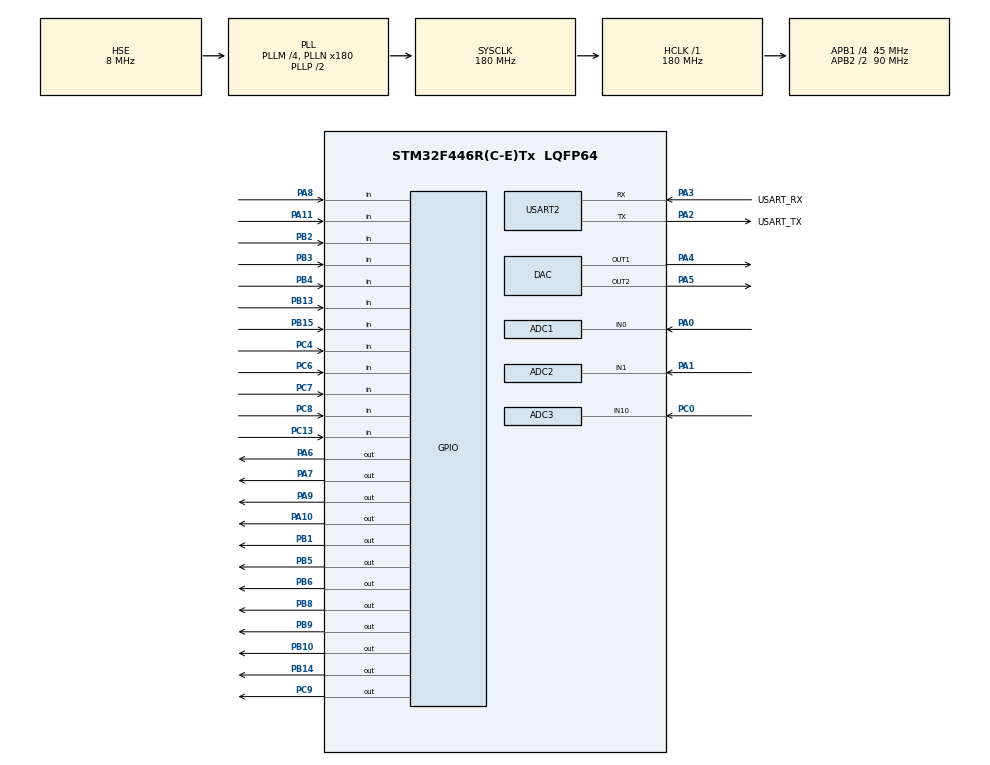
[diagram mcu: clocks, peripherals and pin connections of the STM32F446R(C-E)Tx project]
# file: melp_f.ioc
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ADC1.Channel-0\#ChannelRegularConversion=ADC_CHANNEL_0
ADC1.ClockPrescaler=ADC_CLOCK_SYNC_PCLK_DIV4
ADC1.ContinuousConvMode=DISABLE
ADC1.DMAContinuousRequests=ENABLE
ADC1.DataAlign=ADC_DATAALIGN_LEFT
ADC1.DiscontinuousConvMode=DISABLE
ADC1.EOCSelection=ADC_EOC_SINGLE_CONV
ADC1.EnableAnalogWatchDog=false
ADC1.ExternalTrigConv=ADC_EXTERNALTRIGCONV_T2_TRGO
ADC1.ExternalTrigConvEdge=ADC_EXTERNALTRIGCONVEDGE_RISING
ADC1.InjNumberOfConversion=0
ADC1.NbrOfConversion=1
ADC1.NbrOfConversionFlag=1
ADC1.Rank-0\#ChannelRegularConversion=1
ADC1.Resolution=ADC_RESOLUTION_12B
ADC1.SamplingTime-0\#ChannelRegularConversion=ADC_SAMPLETIME_480CYCLES
ADC1.ScanConvMode=DISABLE
ADC1.master=1
ADC2.Channel-0\#ChannelRegularConversion=ADC_CHANNEL_1
ADC2.ClockPrescaler=ADC_CLOCK_SYNC_PCLK_DIV4
ADC2.ContinuousConvMode=DISABLE
ADC2.DMAContinuousRequests=ENABLE
ADC2.DataAlign=ADC_DATAALIGN_LEFT
ADC2.DiscontinuousConvMode=DISABLE
ADC2.EOCSelection=ADC_EOC_SINGLE_CONV
ADC2.EnableAnalogWatchDog=false
ADC2.ExternalTrigConv=ADC_EXTERNALTRIGCONV_T3_TRGO
ADC2.ExternalTrigConvEdge=ADC_EXTERNALTRIGCONVEDGE_RISING
ADC2.InjNumberOfConversion=0
ADC2.NbrOfConversion=1
ADC2.NbrOfConversionFlag=1
ADC2.Rank-0\#ChannelRegularConversion=1
ADC2.Resolution=ADC_RESOLUTION_12B
ADC2.SamplingTime-0\#ChannelRegularConversion=ADC_SAMPLETIME_480CYCLES
ADC2.ScanConvMode=DISABLE
ADC3.Channel-0\#ChannelRegularConversion=ADC_CHANNEL_10
ADC3.ClockPrescaler=ADC_CLOCK_SYNC_PCLK_DIV4
ADC3.ContinuousConvMode=ENABLE
ADC3.DMAContinuousRequests=DISABLE
ADC3.DataAlign=ADC_DATAALIGN_RIGHT
ADC3.DiscontinuousConvMode=DISABLE
ADC3.EOCSelection=ADC_EOC_SINGLE_CONV
ADC3.EnableAnalogWatchDog=false
ADC3.ExternalTrigConvEdge=ADC_EXTERNALTRIGCONVEDGE_NONE
ADC3.InjNumberOfConversion=0
ADC3.NbrOfConversion=1
ADC3.NbrOfConversionFlag=1
ADC3.Rank-0\#ChannelRegularConversion=1
ADC3.Resolution=ADC_RESOLUTION_12B
ADC3.SamplingTime-0\#ChannelRegularConversion=ADC_SAMPLETIME_3CYCLES
ADC3.ScanConvMode=DISABLE
DAC.DAC_Trigger=DAC_TRIGGER_T4_TRGO
DAC.DAC_Trigger2=DAC_TRIGGER_T5_TRGO
Dma.ADC1.0.Direction=DMA_PERIPH_TO_MEMORY
Dma.ADC1.0.FIFOMode=DMA_FIFOMODE_DISABLE
Dma.ADC1.0.Instance=DMA2_Stream0
Dma.ADC1.0.MemDataAlignment=DMA_MDATAALIGN_HALFWORD
Dma.ADC1.0.MemInc=DMA_MINC_ENABLE
Dma.ADC1.0.Mode=DMA_CIRCULAR
Dma.ADC1.0.PeriphDataAlignment=DMA_PDATAALIGN_HALFWORD
Dma.ADC1.0.PeriphInc=DMA_PINC_DISABLE
Dma.ADC1.0.Priority=DMA_PRIORITY_HIGH
Dma.ADC2.3.Direction=DMA_PERIPH_TO_MEMORY
Dma.ADC2.3.FIFOMode=DMA_FIFOMODE_DISABLE
Dma.ADC2.3.Instance=DMA2_Stream3
Dma.ADC2.3.MemDataAlignment=DMA_MDATAALIGN_HALFWORD
Dma.ADC2.3.MemInc=DMA_MINC_ENABLE
Dma.ADC2.3.Mode=DMA_CIRCULAR
Dma.ADC2.3.PeriphDataAlignment=DMA_PDATAALIGN_HALFWORD
Dma.ADC2.3.PeriphInc=DMA_PINC_DISABLE
Dma.ADC2.3.Priority=DMA_PRIORITY_LOW
Dma.DAC1.1.Direction=DMA_MEMORY_TO_PERIPH
Dma.DAC1.1.FIFOMode=DMA_FIFOMODE_DISABLE
Dma.DAC1.1.Instance=DMA1_Stream5
Dma.DAC1.1.MemDataAlignment=DMA_MDATAALIGN_HALFWORD
Dma.DAC1.1.MemInc=DMA_MINC_ENABLE
Dma.DAC1.1.Mode=DMA_CIRCULAR
Dma.DAC1.1.PeriphDataAlignment=DMA_PDATAALIGN_HALFWORD
Dma.DAC1.1.PeriphInc=DMA_PINC_DISABLE
Dma.DAC1.1.Priority=DMA_PRIORITY_LOW
Dma.DAC2.2.Direction=DMA_MEMORY_TO_PERIPH
Dma.DAC2.2.FIFOMode=DMA_FIFOMODE_DISABLE
Dma.DAC2.2.Instance=DMA1_Stream6
Dma.DAC2.2.MemDataAlignment=DMA_MDATAALIGN_HALFWORD
Dma.DAC2.2.MemInc=DMA_MINC_ENABLE
Dma.DAC2.2.Mode=DMA_CIRCULAR
Dma.DAC2.2.PeriphDataAlignment=DMA_PDATAALIGN_HALFWORD
Dma.DAC2.2.PeriphInc=DMA_PINC_DISABLE
Dma.DAC2.2.Priority=DMA_PRIORITY_LOW
Dma.Request0=ADC1
Dma.Request1=DAC1
Dma.Request2=DAC2
Dma.Request3=ADC2
Mcu.Family=STM32F4
Mcu.Name=STM32F446R(C-E)Tx
Mcu.Package=LQFP64
NVIC.DMA1_Stream5_IRQn=true\:0\:0\:false\:false\:true
NVIC.DMA1_Stream6_IRQn=true\:0\:0\:false\:false\:true
NVIC.DMA2_Stream0_IRQn=true\:0\:0\:false\:false\:true
NVIC.DMA2_Stream3_IRQn=true\:0\:0\:false\:false\:true
NVIC.PriorityGroup=NVIC_PRIORITYGROUP_0
NVIC.TIM3_IRQn=true\:0\:0\:false\:false\:true
PA0-WKUP.Signal=ADCx_IN0
PA1.Signal=ADCx_IN1
PA10.PinState=GPIO_PIN_SET
PA10.Signal=GPIO_Output
PA11.GPIO_PuPd=GPIO_PULLUP
PA11.Signal=GPIO_Input
PA13.GPIO_Label=TMS
PA13.Mode=Serial_Wire
PA13.Signal=SYS_JTMS-SWDIO
PA14.GPIO_Label=TCK
PA14.Mode=Serial_Wire
PA14.Signal=SYS_JTCK-SWCLK
PA2.GPIO_Label=USART_TX
PA2.Mode=Asynchronous
PA2.Signal=USART2_TX
PA3.GPIO_Label=USART_RX
PA3.Mode=Asynchronous
PA3.Signal=USART2_RX
PA4.Signal=COMP_DAC1_group
PA5.Signal=COMP_DAC2_group
PA6.Signal=GPIO_Output
PA7.PinState=GPIO_PIN_SET
PA7.Signal=GPIO_Output
PA8.GPIO_PuPd=GPIO_PULLUP
PA8.Signal=GPIO_Input
PA9.PinState=GPIO_PIN_SET
PA9.Signal=GPIO_Output
PB1.Signal=GPIO_Output
PB10.PinState=GPIO_PIN_SET
PB10.Signal=GPIO_Output
PB13.GPIO_PuPd=GPIO_PULLUP
PB13.Signal=GPIO_Input
PB14.Signal=GPIO_Output
PB15.GPIO_PuPd=GPIO_PULLUP
PB15.Signal=GPIO_Input
PB2.GPIO_PuPd=GPIO_PULLUP
PB2.Signal=GPIO_Input
PB3.GPIO_PuPd=GPIO_PULLUP
PB3.Signal=GPIO_Input
PB4.GPIO_PuPd=GPIO_PULLUP
PB4.Signal=GPIO_Input
PB5.PinState=GPIO_PIN_SET
PB5.Signal=GPIO_Output
PB6.Signal=GPIO_Output
PB8.Signal=GPIO_Output
PB9.PinState=GPIO_PIN_SET
PB9.Signal=GPIO_Output
PC0.Signal=ADCx_IN10
PC13.GPIO_PuPd=GPIO_PULLUP
PC13.Signal=GPIO_Input
PC14-OSC32_IN.Signal=RCC_OSC32_IN
PC15-OSC32_OUT.Signal=RCC_OSC32_OUT
PC4.GPIO_PuPd=GPIO_PULLUP
PC4.Signal=GPIO_Input
PC6.GPIO_PuPd=GPIO_PULLUP
PC6.Signal=GPIO_Input
PC7.GPIO_PuPd=GPIO_PULLUP
PC7.Signal=GPIO_Input
PC8.GPIO_PuPd=GPIO_PULLUP
PC8.Signal=GPIO_Input
PC9.Signal=GPIO_Output
PH0-OSC_IN.Mode=HSE-External-Oscillator
PH0-OSC_IN.Signal=RCC_OSC_IN
PH1-OSC_OUT.Mode=HSE-External-Oscillator
PH1-OSC_OUT.Signal=RCC_OSC_OUT
ProjectManager.HeapSize=0xC000
ProjectManager.StackSize=0x8000
ProjectManager.TargetToolchain=MDK-ARM V5
RCC.AHBFreq_Value=180000000
RCC.APB1CLKDivider=RCC_HCLK_DIV4
RCC.APB1Freq_Value=45000000
RCC.APB1TimFreq_Value=90000000
RCC.APB2CLKDivider=RCC_HCLK_DIV2
RCC.APB2Freq_Value=90000000
RCC.APB2TimFreq_Value=180000000
RCC.CortexFreq_Value=180000000
RCC.FLatency-AdvancedSettings=FLASH_LATENCY_5
RCC.HCLKFreq_Value=180000000
RCC.HSE_VALUE=8000000
RCC.HSI_VALUE=16000000
RCC.PLLM=4
RCC.PLLN=180
RCC.PLLSourceVirtual=RCC_PLLSOURCE_HSE
RCC.SYSCLKFreq_VALUE=180000000
RCC.SYSCLKSource=RCC_SYSCLKSOURCE_PLLCLK
RCC.USBFreq_Value=180000000
RCC.VCOOutputFreq_Value=360000000
SH.ADCx_IN0.0=ADC1_IN0,IN0
SH.ADCx_IN1.0=ADC2_IN1,IN1
SH.ADCx_IN10.0=ADC3_IN10,IN10
SH.COMP_DAC1_group.0=DAC_OUT1,DAC_OUT1
SH.COMP_DAC2_group.0=DAC_OUT2,DAC_OUT2
TIM2.Period=15000
TIM2.TIM_MasterOutputTrigger=TIM_TRGO_UPDATE
TIM2.TIM_MasterSlaveMode=TIM_MASTERSLAVEMODE_ENABLE
TIM3.Period=11250
TIM3.TIM_MasterOutputTrigger=TIM_TRGO_UPDATE
TIM3.TIM_MasterSlaveMode=TIM_MASTERSLAVEMODE_ENABLE
TIM4.Period=15000
TIM4.TIM_MasterOutputTrigger=TIM_TRGO_UPDATE
TIM4.TIM_MasterSlaveMode=TIM_MASTERSLAVEMODE_ENABLE
TIM5.Period=11250
TIM5.TIM_MasterOutputTrigger=TIM_TRGO_UPDATE
TIM5.TIM_MasterSlaveMode=TIM_MASTERSLAVEMODE_ENABLE
VP_TIM2_VS_ClockSourceINT.Mode=Internal
VP_TIM3_VS_ClockSourceINT.Mode=Internal
VP_TIM4_VS_ClockSourceINT.Mode=Internal
VP_TIM5_VS_ClockSourceINT.Mode=Internal
board=NUCLEO-F446RE

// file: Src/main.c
/**
  ******************************************************************************
  * File Name          : main.c
  * Description        : Main program body
  ******************************************************************************
  *
  * COPYRIGHT(c) 2018 STMicroelectronics
  *
  * Redistribution and use in source and binary forms, with or without modification,
  * are permitted provided that the following conditions are met:
  *   1. Redistributions of source code must retain the above copyright notice,
  *      this list of conditions and the following disclaimer.
  *   2. Redistributions in binary form must reproduce the above copyright notice,
  *      this list of conditions and the following disclaimer in the documentation
  *      and/or other materials provided with the distribution.
  *   3. Neither the name of STMicroelectronics nor the names of its contributors
  *      may be used to endorse or promote products derived from this software
  *      without specific prior written permission.
  *
  * THIS SOFTWARE IS PROVIDED BY THE COPYRIGHT HOLDERS AND CONTRIBUTORS "AS IS"
  * AND ANY EXPRESS OR IMPLIED WARRANTIES, INCLUDING, BUT NOT LIMITED TO, THE
  * IMPLIED WARRANTIES OF MERCHANTABILITY AND FITNESS FOR A PARTICULAR PURPOSE ARE
  * DISCLAIMED. IN NO EVENT SHALL THE COPYRIGHT HOLDER OR CONTRIBUTORS BE LIABLE
  * FOR ANY DIRECT, INDIRECT, INCIDENTAL, SPECIAL, EXEMPLARY, OR CONSEQUENTIAL
  * DAMAGES (INCLUDING, BUT NOT LIMITED TO, PROCUREMENT OF SUBSTITUTE GOODS OR
  * SERVICES; LOSS OF USE, DATA, OR PROFITS; OR BUSINESS INTERRUPTION) HOWEVER
  * CAUSED AND ON ANY THEORY OF LIABILITY, WHETHER IN CONTRACT, STRICT LIABILITY,
  * OR TORT (INCLUDING NEGLIGENCE OR OTHERWISE) ARISING IN ANY WAY OUT OF THE USE
  * OF THIS SOFTWARE, EVEN IF ADVISED OF THE POSSIBILITY OF SUCH DAMAGE.
  *
  ******************************************************************************
  */
#include "stm32f4xx_hal.h"

/* USER CODE BEGIN Includes */
#include	<stdio.h>
#include	<stdlib.h>
#include	<math.h>
#include <string.h>

#include "melpe_old/melpe.h" //MELPE 800 bps speech codec
#include "mdm/modem.h" //800 bps Pulse and BPSK modems
#include "crp/cntr.h" //Control (key exchange, encrypting, statistic)

/* USER CODE END Includes */

ADC_HandleTypeDef hadc1;
ADC_HandleTypeDef hadc2;
ADC_HandleTypeDef hadc3;
DMA_HandleTypeDef hdma_adc1;
DMA_HandleTypeDef hdma_adc2;

DAC_HandleTypeDef hdac;
DMA_HandleTypeDef hdma_dac1;
DMA_HandleTypeDef hdma_dac2;

TIM_HandleTypeDef htim2;
TIM_HandleTypeDef htim3;
TIM_HandleTypeDef htim4;
TIM_HandleTypeDef htim5;

UART_HandleTypeDef huart2;

/* USER CODE BEGIN PV */
/* Private variables ---------------------------------------------------------*/

#define SPEECH_FRAME 540 //short PCM samples in 90 mS speech frame
#define SPEECH_RATE 6000 //Mike and Speaker sampling rates, Hz

#define MODEM_FRAME 720 //short PCM samples in 90 mS modem frame
#define MODEM_RATE 8000 //Line input and output sampling rates, Hz

//PCM double buffers
int16_t inbuf[2*SPEECH_FRAME]; //recording from Mike
int16_t outbuf[2*SPEECH_FRAME]; //playing over Speaker
int16_t inmdm[2*MODEM_FRAME]; //recording from Line
int16_t outmdm[2*MODEM_FRAME]; //playing to Line

//data buffers
unsigned char bits[16]; //data block (9 data bytes + flags)
unsigned char sbts[72]; //soft bits of received data bytes (LLR)
signed char lbuf[256]={0}; //log output text buffer

//for TRNG
volatile unsigned int adcres; //result of ADC conversion for TRNG
int adccnt; //counters of ADC probes fro TRNG

//synchronization levels setted in interrupts
volatile unsigned int dac1_level=530; //level of voice playing DMA buffer in a moment of new baseband frame was recorded
volatile unsigned int dac2_level=710; //level of baseband playing DMA buffer in a moment of new voice frame was recorded
volatile unsigned short tim3period=11250; //divider for nominal samle rate 8000KHz of recording from Line (tuned by demodulator)

//ready flags setted in interupts
volatile unsigned char Start_Encoding = 0; //flag of voice frame was recorded
volatile unsigned char Start_Decoding=0; //flag of baseband frame was recorded

//UART TX log output
signed char* tx_ptr=lbuf; //pointer to char in log buffer will be transmitted
//status flags
signed char key=0; //flag of having their key (0-no key, 1-have key untill button will be presed, -1 -  have key)
unsigned char snc; //flag of their carrier detected (0- no carrier, 1-carrier detected and synchronized)
unsigned char btn; //flag of button pressed (0-button released, 1-pressed)
unsigned char vad; //flag of our speech active (0-silency, 1-speech)
unsigned char work=0;  //current device status: 0-IKE (after run), 1-WORK mode (after key agreeded)
unsigned char psk=0; //flag of using PSK modem instead pulse one
unsigned char ptt=0; //flag of push-to-talk mode (function of button will be inversed)

volatile unsigned int k;

/* USER CODE END PV */

void SystemClock_Config(void);
void Error_Handler(void);
static void MX_GPIO_Init(void);
static void MX_DMA_Init(void);
static void MX_ADC1_Init(void);
static void MX_DAC_Init(void);
static void MX_TIM2_Init(void);
static void MX_TIM3_Init(void);
static void MX_ADC2_Init(void);
static void MX_ADC3_Init(void);
static void MX_TIM4_Init(void);
static void MX_TIM5_Init(void);
static void MX_USART2_UART_Init(void);

/* USER CODE BEGIN PFP */
/* Private function prototypes -----------------------------------------------*/
void getJmp(void);
/* USER CODE END PFP */

/* USER CODE BEGIN 0 */
//blue btn=PC13
//psk=PC8
//vad=PC6
//ptt=PA11
//LedR=PB9
//Ledy=PA7

/* USER CODE END 0 */

int main(void)
{

  /* USER CODE BEGIN 1 */
  int i;

	int16_t* sp_ptr;
  int16_t* md_ptr;
	uint8_t ptr; //cashing of volatile Start_Encoding/Start_Decoding

  /* USER CODE END 1 */

  /* MCU Configuration----------------------------------------------------------*/

  /* Reset of all peripherals, Initializes the Flash interface and the Systick. */
  HAL_Init();

  /* Configure the system clock */
  SystemClock_Config();

  /* Initialize all configured peripherals */
  MX_GPIO_Init();
  MX_DMA_Init();
  MX_ADC1_Init();
  MX_DAC_Init();
  MX_TIM2_Init();
  MX_TIM3_Init();
  MX_ADC2_Init();
  MX_ADC3_Init();
  MX_TIM4_Init();
  MX_TIM5_Init();
  MX_USART2_UART_Init();

  /* USER CODE BEGIN 2 */
//----------------------------------------------------------------------
//init melpe 800 bps codec at 6KHz sampling rate
  melpe_i();

//----------------------------------------------------------------------
  //self test crypto engine by test vector
  if(!testcrp()) while(1){};

		//----------------------------------------------------------------------
  //collect entropy from Mike using one LSB only
  while(1)
  {
   HAL_ADC_Stop(&hadc3);
	 HAL_ADC_Start(&hadc3); //restart ADC3 in continuous mode
	 adccnt=100000; //timeout for restarting ADC3
	 while(--adccnt) //loop untill timeout elapsed
	 {
	  adcres=HAL_ADC_GetValue(&hadc3); //get current ADC value
	  i=setrand(adcres); //add LSB to entropy
	  if(i) break; //break if we have sufficient entropy
	 }
	 if(i) break; //break if we have sufficient entropy
  }
  HAL_ADC_Stop(&hadc3); //stop ADC3

	//Scan today's secret code from jumpers
	//Note: this produce near 12 bit level. Designed for test board!
	//Please replace this while migrate to real device!
//----------------------------------------------------------------------
	  k=0; //clear code accumulator
	  //scan 8 bits jumper's code 0
		if(HAL_GPIO_ReadPin(GPIOC, GPIO_PIN_4)) k|=1; k<<=1;
		if(HAL_GPIO_ReadPin(GPIOB, GPIO_PIN_3)) k|=1; k<<=1;
		if(HAL_GPIO_ReadPin(GPIOB, GPIO_PIN_13)) k|=1; k<<=1;
		if(HAL_GPIO_ReadPin(GPIOB, GPIO_PIN_4)) k|=1; k<<=1;
		if(HAL_GPIO_ReadPin(GPIOB, GPIO_PIN_15)) k|=1; k<<=1;
		if(HAL_GPIO_ReadPin(GPIOA, GPIO_PIN_8)) k|=1; k<<=1;
		if(HAL_GPIO_ReadPin(GPIOB, GPIO_PIN_2)) k|=1; k<<=1;
		if(HAL_GPIO_ReadPin(GPIOC, GPIO_PIN_7)) k|=1; k<<=1;

	  HAL_GPIO_TogglePin(GPIOB, GPIO_PIN_1); //back group 2 level to 1
		HAL_GPIO_TogglePin(GPIOB, GPIO_PIN_14);
	  HAL_GPIO_TogglePin(GPIOA, GPIO_PIN_9); //change group 0 level to 0
		HAL_GPIO_TogglePin(GPIOB, GPIO_PIN_5);
	  for(i=0;i<10000;i++) adcres++; //delay

	  //scan 8 bits jumpers code 1
	 if(HAL_GPIO_ReadPin(GPIOC, GPIO_PIN_4)) k|=1; k<<=1;
		if(HAL_GPIO_ReadPin(GPIOB, GPIO_PIN_3)) k|=1; k<<=1;
		if(HAL_GPIO_ReadPin(GPIOB, GPIO_PIN_13)) k|=1; k<<=1;
		if(HAL_GPIO_ReadPin(GPIOB, GPIO_PIN_4)) k|=1; k<<=1;
		if(HAL_GPIO_ReadPin(GPIOB, GPIO_PIN_15)) k|=1; k<<=1;
		if(HAL_GPIO_ReadPin(GPIOA, GPIO_PIN_8)) k|=1; k<<=1;
		if(HAL_GPIO_ReadPin(GPIOB, GPIO_PIN_2)) k|=1; k<<=1;
		if(HAL_GPIO_ReadPin(GPIOC, GPIO_PIN_7)) k|=1; k<<=1;

    HAL_GPIO_TogglePin(GPIOA, GPIO_PIN_9); //back group0 level to 1
		HAL_GPIO_TogglePin(GPIOB, GPIO_PIN_5);
		HAL_GPIO_TogglePin(GPIOA, GPIO_PIN_10); //change group1 level to 0
		HAL_GPIO_TogglePin(GPIOB, GPIO_PIN_10);
    for(i=0;i<10000;i++) adcres++; //delay

		//scan 8 bits jumper's code 2
		if(HAL_GPIO_ReadPin(GPIOC, GPIO_PIN_4)) k|=1; k<<=1;
		if(HAL_GPIO_ReadPin(GPIOB, GPIO_PIN_3)) k|=1; k<<=1;
		if(HAL_GPIO_ReadPin(GPIOB, GPIO_PIN_13)) k|=1; k<<=1;
		if(HAL_GPIO_ReadPin(GPIOB, GPIO_PIN_4)) k|=1; k<<=1;
		if(HAL_GPIO_ReadPin(GPIOB, GPIO_PIN_15)) k|=1; k<<=1;
		if(HAL_GPIO_ReadPin(GPIOA, GPIO_PIN_8)) k|=1; k<<=1;
		if(HAL_GPIO_ReadPin(GPIOB, GPIO_PIN_2)) k|=1; k<<=1;
		if(HAL_GPIO_ReadPin(GPIOC, GPIO_PIN_7)) k|=1;

    setkey(k); //setup new session keypair
    k=0; //clear volatile code
//----------------------------------------------------------------------

//scan jumpers and set configuration values
	getJmp();

//----------------------------------------------------------------------
  //DMA settings

	//voice frame is 540 short samples with 6KHz rate (90 mS)
  //set DMA size for double buffer in circullar mode

	HAL_ADC_Start_DMA(&hadc1, (uint32_t*)inbuf, 1080);  //voice recording from Mike using ADC1
  HAL_TIM_Base_Start(&htim2); //voice recording sampling rate provides by TIM3

  HAL_DAC_Start_DMA(&hdac, DAC_CHANNEL_1,(uint32_t*)outbuf, 1080, DAC_ALIGN_12B_L); //voice playing to Speaker using DAC1
  HAL_TIM_Base_Start(&htim4); //voice playing sampling rate provides by TIM2

	//modem frame is 720 short samples with 8KHz rate (90 mS)
	//set DMA size for double buffer in circullar mode

	HAL_ADC_Start_DMA(&hadc2, (uint32_t*)inmdm, 1440); //baseband recording from Line using ADC2
  HAL_TIM_Base_Start(&htim3); //baseband recording sampling rate provides by TIM8

	HAL_DAC_Start_DMA(&hdac, DAC_CHANNEL_2,(uint32_t*)outmdm, 1440, DAC_ALIGN_12B_L);
  HAL_TIM_Base_Start(&htim5); //baseband playing sampling rate provides by TIM4

  /* USER CODE END 2 */

  /* Infinite loop */
  /* USER CODE BEGIN WHILE */
  while (1)
  {
    //====================================UART output====================================
		if((*tx_ptr)&&__HAL_UART_GET_FLAG(&huart2, UART_FLAG_TXE)) //check for we have a char and UART ready
		{
		 (&huart2)->Instance->DR = (*tx_ptr++ & (uint8_t)0xFFU); //TX char, move pointer to next
		}

//==================================Mike to Line processing==============================
		if(Start_Encoding)  //check flag of speech frame was recorded
		{
		//------------------read button state-------------------------
			ptr = (uint8_t)HAL_GPIO_ReadPin(GPIOC, GPIO_PIN_13); //flag is 0 - button pressed, 1 - released
			if(ptr!=btn) //check button state was change
			{
			 btn=ptr;	//setavad neq button state
			 getJmp(); //rescan jumpers ans set configuration values
			}

			//----------preprocess speech frame-----
			ptr=Start_Encoding-1; //part of double buffer will be processed (0 or 1)
			sp_ptr=inbuf+ptr*540; //pointer to recorded speech frame (540 6 KHz PCM samples)
			md_ptr=outmdm+ptr*720; //pointer to part of output buffer where modem will be outputted
			for(i=0;i<540;i++) sp_ptr[i]^=0x8000; //convert unsigned ADC result to signed short PCM

       //----------------IKE mode processing-----------------
			if(!work) //check current state id IKE mode
			{
			 txkey(bits);  //generate key data, set control flag to bits[9], returns control flag (0-ctrl, 1-data)
			 make_pkt(bits); //encrypt bits for key data or set control data, returns void
			 if(btn^ptt) //if button press
			 {
				 if(psk) Modulate_b(bits, md_ptr); //modulate data to line output
				 else Modulate_p(bits, md_ptr); //modulate data to line output
				 if(key>0) key=-1; //reverse keyalarm flag after button was pressed
         if(ptr) HAL_GPIO_WritePin(GPIOA, GPIO_PIN_7, GPIO_PIN_SET); //ike mode, btn press: yellow led blink
         else HAL_GPIO_WritePin(GPIOA, GPIO_PIN_7, GPIO_PIN_RESET);
			 }
			 else
			 {
				 if((key>0) && ptr) Tone(md_ptr, 60); //or send tone to line output every even frame if keyalarm flag set
			   else speech2line(sp_ptr, md_ptr); //or send native speech from Mike to line output
			   HAL_GPIO_WritePin(GPIOA, GPIO_PIN_7, GPIO_PIN_RESET); //IKE mode, btn released: yellow LED=0
			 }
			} //end of processing recorded speech frame in IKE mode

       //---------------WORK mode processong----------------------
			else  //WORK mode
			{
			 if(btn^ptt) //process voice to data only if button pressed
			 {
				 vad=melpe_a(bits, sp_ptr); //encode speech frame, voice flag in bits[9], returns voice flag (1-voice, 0-silency)
			   make_pkt(bits); //encrypt bits for voice data or set control data, returns void
			   if(psk) Modulate_b(bits, md_ptr); //BPSK modulate data to line output
         else Modulate_p(bits, md_ptr); //PLS modulate data to line output
         if(vad || ptt) //for duplex mode yellow LED light only in work mode for voice
				 HAL_GPIO_WritePin(GPIOA, GPIO_PIN_7, GPIO_PIN_SET); //work mode, btn press: yellow LED=1
			 }
			 else
			 {
				 speech2line(sp_ptr, md_ptr); //or send native speech from Mike to line output
         vad=0;	//clearerr voice flag
         HAL_GPIO_WritePin(GPIOA, GPIO_PIN_7, GPIO_PIN_RESET);	//work mode, BTN release: yellow LED=0
			 }
			}	 //end of processing recoreded speech frame in WORK mode
//------------------------------------------------------------

			//postprocess line output frame
			for(i=0;i<720;i++) md_ptr[i]^=0x8000; //convert signed PCM to unsigned short for DAC
			//------------synchronization----------------
			if(!ptr) //only for even frames
			{
				//adjust voice record rate by modem output level
			 i=dac2_level-720; //delta by level of Line playing buffer
			 i+=15000; //tuning ADC1 timer for sample rate of recording from Mike
			 __HAL_TIM_SET_AUTORELOAD(&htim2, i); //adjust ADC1 6KHz rate (Mike)
			}

			Start_Encoding=0;  //clear speach ready flag
		} //end of processing recorded speech frame

//==========================Line to Speaker processing==============================

		if(Start_Decoding) //check flag of modem frame was recorded
		{
			//-------------preprocessing line frame-----
			ptr=Start_Decoding-1;
			md_ptr=inmdm+ptr*720; //pointer to recorded modem frame (720 8KHz PCM samples)
			sp_ptr=outbuf+ptr*540; //pointer to speaker frame will be played (540 6KHz PCM samples)
			for(i=0;i<720;i++) md_ptr[i]^=0x8000; //convert unsigned ADC result to signed short PCM

//----------------IKE mode processing-----------------
			if(!work)
			{
			 //demodulate with soft bits
			 if(psk) i=Demodulate_b(md_ptr, bits, sbts); //demodulate line input, returns value for fine tuning recording sample rate
			 else i=Demodulate_p(md_ptr, bits, sbts);
			 tim3period=11250-i; //fine adjust Line recording samlerate
			 if(btn^ptt) bits[13]|=0x80; //bits[12]=btn;  //set button flag  !!!!!!!!
			 snc=bits[11]&0x40; //get flag of carrier detected
			 if(snc) check_pkt(bits); //check for control packets, set ctrl flag to MSB of bits[11], returns 1-voice, 0 control
			 i=ike_ber(bits,lbuf); //check packet for ber, output log, returns 0- we have their key otherwise 1
       if((!i) && (!key)) key=1; //set flag for alarmed other side: we already have their key
			 tx_ptr=lbuf; //set pointer to start of text buffer for output statictic over UART
				//check carrier detected
			 if(snc) //carrier detected
			 {	 //process received data
				work=rxkey(bits, sbts); //process received key data, returns current mode
				 if(key || ptr) HAL_GPIO_WritePin(GPIOB, GPIO_PIN_9, GPIO_PIN_SET); //IKE mode, carrier OK, have key: red LED=1
				 else HAL_GPIO_WritePin(GPIOB, GPIO_PIN_9, GPIO_PIN_RESET); //IKE mode, carrier OK, no key: red LED blink
			 }
			 else HAL_GPIO_WritePin(GPIOB, GPIO_PIN_9, GPIO_PIN_RESET); //no carrier: red LED=0

			 //resample line signal to speaker
			 line2speech(md_ptr, sp_ptr); //convert 720 *KHz line samples to 540 6KHz speaker samples
			} //end of received modem frame processing in IKE mode
//----------------WORK mode processing-----------------
			else
			{
			 if(psk) i=Demodulate_b(md_ptr, bits, 0); //demodulate line input, returns value for fine tuning recording sample rate
			 else i=Demodulate_p(md_ptr, bits, 0);
			 tim3period=11250-i; //fine adjust Line recording samlerate
			 if(btn^ptt) bits[13]|=0x80; //bits[12]=btn;  //set button flag  !!!!!!!!
			 if(vad) bits[13]|=0x40; // bits[12]+=2;	//setbuf vad flag
			 snc=bits[11]&0x40; //get flag of carrier detected
			 if(snc) //carrier detected
       {  //increment packets only in good sync because later we can't rewind counter back but can move forward
				i=check_pkt(bits); //check for control packets, set ctrl flag to MSB of bits[11], returns 1-voice, 0 control
				if(i) melpe_s(sp_ptr, bits); //decode received 9 bytes data to 540 samples into outbuf+540
			  else memset(sp_ptr, 0, 1080); //or set silency if control packet was received
				 HAL_GPIO_WritePin(GPIOB, GPIO_PIN_9, GPIO_PIN_SET); //carrier detected, work mode: red LED=1
			 }
       else //no carrier
			 {
				 line2speech(md_ptr, sp_ptr); //convert 720 *KHz line samples to 540 6KHz speaker samples
				 HAL_GPIO_WritePin(GPIOB, GPIO_PIN_9, GPIO_PIN_RESET); //no carrier, work mode: red LED=0
			 }
       work_ber(bits, lbuf); //check packet for ber, output log
			 tx_ptr=lbuf; //set pointer to start of text buffer for output statistic over UART
			} //end of received modem frame processing in work mode

			//postprocess line output frame
			for(i=0;i<540;i++) sp_ptr[i]^=0x8000; //convert signed PCM to unsigned short for DAC

			//------------synchronization----------------
			if(!ptr) //only for even frames
			{
				//autoadjust voice playing samplerate by himself
			  i=540-dac1_level; //delta for tuning Speaker sampling rate
			  i+=15000; //tune DAC1 timer
			  __HAL_TIM_SET_AUTORELOAD(&htim4, i); //adjust DAC1 6KHz rate (Speaker)
			}

			Start_Decoding=0; //clear line frame ready flag
		}//end of processing recorded modem frame
//================================================================================

  /* USER CODE END WHILE */

  /* USER CODE BEGIN 3 */

  } //end of while(1) infinite loop
  /* USER CODE END 3 */

}

/** System Clock Configuration
*/
void SystemClock_Config(void)
{

  RCC_OscInitTypeDef RCC_OscInitStruct;
  RCC_ClkInitTypeDef RCC_ClkInitStruct;

  __HAL_RCC_PWR_CLK_ENABLE();

  __HAL_PWR_VOLTAGESCALING_CONFIG(PWR_REGULATOR_VOLTAGE_SCALE1);

  RCC_OscInitStruct.OscillatorType = RCC_OSCILLATORTYPE_HSE;
  RCC_OscInitStruct.HSEState = RCC_HSE_ON;
  RCC_OscInitStruct.PLL.PLLState = RCC_PLL_ON;
  RCC_OscInitStruct.PLL.PLLSource = RCC_PLLSOURCE_HSE;
  RCC_OscInitStruct.PLL.PLLM = 4;
  RCC_OscInitStruct.PLL.PLLN = 180;
  RCC_OscInitStruct.PLL.PLLP = RCC_PLLP_DIV2;
  RCC_OscInitStruct.PLL.PLLQ = 2;
  RCC_OscInitStruct.PLL.PLLR = 2;
  if (HAL_RCC_OscConfig(&RCC_OscInitStruct) != HAL_OK)
  {
    Error_Handler();
  }

  if (HAL_PWREx_EnableOverDrive() != HAL_OK)
  {
    Error_Handler();
  }

  RCC_ClkInitStruct.ClockType = RCC_CLOCKTYPE_HCLK|RCC_CLOCKTYPE_SYSCLK
                              |RCC_CLOCKTYPE_PCLK1|RCC_CLOCKTYPE_PCLK2;
  RCC_ClkInitStruct.SYSCLKSource = RCC_SYSCLKSOURCE_PLLCLK;
  RCC_ClkInitStruct.AHBCLKDivider = RCC_SYSCLK_DIV1;
  RCC_ClkInitStruct.APB1CLKDivider = RCC_HCLK_DIV4;
  RCC_ClkInitStruct.APB2CLKDivider = RCC_HCLK_DIV2;
  if (HAL_RCC_ClockConfig(&RCC_ClkInitStruct, FLASH_LATENCY_5) != HAL_OK)
  {
    Error_Handler();
  }

  HAL_SYSTICK_Config(HAL_RCC_GetHCLKFreq()/1000);

  HAL_SYSTICK_CLKSourceConfig(SYSTICK_CLKSOURCE_HCLK);

  /* SysTick_IRQn interrupt configuration */
  HAL_NVIC_SetPriority(SysTick_IRQn, 0, 0);
}

/* ADC1 init function */
static void MX_ADC1_Init(void)
{

  ADC_ChannelConfTypeDef sConfig;

    /**Configure the global features of the ADC (Clock, Resolution, Data Alignment and number of conversion)
    */
  hadc1.Instance = ADC1;
  hadc1.Init.ClockPrescaler = ADC_CLOCK_SYNC_PCLK_DIV4;
  hadc1.Init.Resolution = ADC_RESOLUTION_12B;
  hadc1.Init.ScanConvMode = DISABLE;
  hadc1.Init.ContinuousConvMode = DISABLE;
  hadc1.Init.DiscontinuousConvMode = DISABLE;
  hadc1.Init.ExternalTrigConvEdge = ADC_EXTERNALTRIGCONVEDGE_RISING;
  hadc1.Init.ExternalTrigConv = ADC_EXTERNALTRIGCONV_T2_TRGO;
  hadc1.Init.DataAlign = ADC_DATAALIGN_LEFT;
  hadc1.Init.NbrOfConversion = 1;
  hadc1.Init.DMAContinuousRequests = ENABLE;
  hadc1.Init.EOCSelection = ADC_EOC_SINGLE_CONV;
  if (HAL_ADC_Init(&hadc1) != HAL_OK)
  {
    Error_Handler();
  }

    /**Configure for the selected ADC regular channel its corresponding rank in the sequencer and its sample time.
    */
  sConfig.Channel = ADC_CHANNEL_0;
  sConfig.Rank = 1;
  sConfig.SamplingTime = ADC_SAMPLETIME_480CYCLES;
  if (HAL_ADC_ConfigChannel(&hadc1, &sConfig) != HAL_OK)
  {
    Error_Handler();
  }

}

/* ADC2 init function */
static void MX_ADC2_Init(void)
{

  ADC_ChannelConfTypeDef sConfig;

    /**Configure the global features of the ADC (Clock, Resolution, Data Alignment and number of conversion)
    */
  hadc2.Instance = ADC2;
  hadc2.Init.ClockPrescaler = ADC_CLOCK_SYNC_PCLK_DIV4;
  hadc2.Init.Resolution = ADC_RESOLUTION_12B;
  hadc2.Init.ScanConvMode = DISABLE;
  hadc2.Init.ContinuousConvMode = DISABLE;
  hadc2.Init.DiscontinuousConvMode = DISABLE;
  hadc2.Init.ExternalTrigConvEdge = ADC_EXTERNALTRIGCONVEDGE_RISING;
  hadc2.Init.ExternalTrigConv = ADC_EXTERNALTRIGCONV_T3_TRGO;
  hadc2.Init.DataAlign = ADC_DATAALIGN_LEFT;
  hadc2.Init.NbrOfConversion = 1;
  hadc2.Init.DMAContinuousRequests = ENABLE;
  hadc2.Init.EOCSelection = ADC_EOC_SINGLE_CONV;
  if (HAL_ADC_Init(&hadc2) != HAL_OK)
  {
    Error_Handler();
  }

    /**Configure for the selected ADC regular channel its corresponding rank in the sequencer and its sample time.
    */
  sConfig.Channel = ADC_CHANNEL_1;
  sConfig.Rank = 1;
  sConfig.SamplingTime = ADC_SAMPLETIME_480CYCLES;
  if (HAL_ADC_ConfigChannel(&hadc2, &sConfig) != HAL_OK)
  {
    Error_Handler();
  }

}

/* ADC3 init function */
static void MX_ADC3_Init(void)
{

  ADC_ChannelConfTypeDef sConfig;

    /**Configure the global features of the ADC (Clock, Resolution, Data Alignment and number of conversion)
    */
  hadc3.Instance = ADC3;
  hadc3.Init.ClockPrescaler = ADC_CLOCK_SYNC_PCLK_DIV4;
  hadc3.Init.Resolution = ADC_RESOLUTION_12B;
  hadc3.Init.ScanConvMode = DISABLE;
  hadc3.Init.ContinuousConvMode = ENABLE;
  hadc3.Init.DiscontinuousConvMode = DISABLE;
  hadc3.Init.ExternalTrigConvEdge = ADC_EXTERNALTRIGCONVEDGE_NONE;
  hadc3.Init.DataAlign = ADC_DATAALIGN_RIGHT;
  hadc3.Init.NbrOfConversion = 1;
  hadc3.Init.DMAContinuousRequests = DISABLE;
  hadc3.Init.EOCSelection = ADC_EOC_SINGLE_CONV;
  if (HAL_ADC_Init(&hadc3) != HAL_OK)
  {
    Error_Handler();
  }

    /**Configure for the selected ADC regular channel its corresponding rank in the sequencer and its sample time.
    */
  sConfig.Channel = ADC_CHANNEL_10;
  sConfig.Rank = 1;
  sConfig.SamplingTime = ADC_SAMPLETIME_3CYCLES;
  if (HAL_ADC_ConfigChannel(&hadc3, &sConfig) != HAL_OK)
  {
    Error_Handler();
  }

}

/* DAC init function */
static void MX_DAC_Init(void)
{

  DAC_ChannelConfTypeDef sConfig;

    /**DAC Initialization
    */
  hdac.Instance = DAC;
  if (HAL_DAC_Init(&hdac) != HAL_OK)
  {
    Error_Handler();
  }

    /**DAC channel OUT1 config
    */
  sConfig.DAC_Trigger = DAC_TRIGGER_T4_TRGO;
  sConfig.DAC_OutputBuffer = DAC_OUTPUTBUFFER_ENABLE;
  if (HAL_DAC_ConfigChannel(&hdac, &sConfig, DAC_CHANNEL_1) != HAL_OK)
  {
    Error_Handler();
  }

    /**DAC channel OUT2 config
    */
  sConfig.DAC_Trigger = DAC_TRIGGER_T5_TRGO;
  if (HAL_DAC_ConfigChannel(&hdac, &sConfig, DAC_CHANNEL_2) != HAL_OK)
  {
    Error_Handler();
  }

}

/* TIM2 init function */
static void MX_TIM2_Init(void)
{

  TIM_ClockConfigTypeDef sClockSourceConfig;
  TIM_MasterConfigTypeDef sMasterConfig;

  htim2.Instance = TIM2;
  htim2.Init.Prescaler = 0;
  htim2.Init.CounterMode = TIM_COUNTERMODE_UP;
  htim2.Init.Period = 15000;
  htim2.Init.ClockDivision = TIM_CLOCKDIVISION_DIV1;
  if (HAL_TIM_Base_Init(&htim2) != HAL_OK)
  {
    Error_Handler();
  }

  sClockSourceConfig.ClockSource = TIM_CLOCKSOURCE_INTERNAL;
  if (HAL_TIM_ConfigClockSource(&htim2, &sClockSourceConfig) != HAL_OK)
  {
    Error_Handler();
  }

  sMasterConfig.MasterOutputTrigger = TIM_TRGO_UPDATE;
  sMasterConfig.MasterSlaveMode = TIM_MASTERSLAVEMODE_ENABLE;
  if (HAL_TIMEx_MasterConfigSynchronization(&htim2, &sMasterConfig) != HAL_OK)
  {
    Error_Handler();
  }

}

/* TIM3 init function */
static void MX_TIM3_Init(void)
{

  TIM_ClockConfigTypeDef sClockSourceConfig;
  TIM_MasterConfigTypeDef sMasterConfig;

  htim3.Instance = TIM3;
  htim3.Init.Prescaler = 0;
  htim3.Init.CounterMode = TIM_COUNTERMODE_UP;
  htim3.Init.Period = 11250;
  htim3.Init.ClockDivision = TIM_CLOCKDIVISION_DIV1;
  if (HAL_TIM_Base_Init(&htim3) != HAL_OK)
  {
    Error_Handler();
  }

  sClockSourceConfig.ClockSource = TIM_CLOCKSOURCE_INTERNAL;
  if (HAL_TIM_ConfigClockSource(&htim3, &sClockSourceConfig) != HAL_OK)
  {
    Error_Handler();
  }

  sMasterConfig.MasterOutputTrigger = TIM_TRGO_UPDATE;
  sMasterConfig.MasterSlaveMode = TIM_MASTERSLAVEMODE_ENABLE;
  if (HAL_TIMEx_MasterConfigSynchronization(&htim3, &sMasterConfig) != HAL_OK)
  {
    Error_Handler();
  }

}

/* TIM4 init function */
static void MX_TIM4_Init(void)
{

  TIM_ClockConfigTypeDef sClockSourceConfig;
  TIM_MasterConfigTypeDef sMasterConfig;

  htim4.Instance = TIM4;
  htim4.Init.Prescaler = 0;
  htim4.Init.CounterMode = TIM_COUNTERMODE_UP;
  htim4.Init.Period = 15000;
  htim4.Init.ClockDivision = TIM_CLOCKDIVISION_DIV1;
  if (HAL_TIM_Base_Init(&htim4) != HAL_OK)
  {
    Error_Handler();
  }

  sClockSourceConfig.ClockSource = TIM_CLOCKSOURCE_INTERNAL;
  if (HAL_TIM_ConfigClockSource(&htim4, &sClockSourceConfig) != HAL_OK)
  {
    Error_Handler();
  }

  sMasterConfig.MasterOutputTrigger = TIM_TRGO_UPDATE;
  sMasterConfig.MasterSlaveMode = TIM_MASTERSLAVEMODE_ENABLE;
  if (HAL_TIMEx_MasterConfigSynchronization(&htim4, &sMasterConfig) != HAL_OK)
  {
    Error_Handler();
  }

}

/* TIM5 init function */
static void MX_TIM5_Init(void)
{

  TIM_ClockConfigTypeDef sClockSourceConfig;
  TIM_MasterConfigTypeDef sMasterConfig;

  htim5.Instance = TIM5;
  htim5.Init.Prescaler = 0;
  htim5.Init.CounterMode = TIM_COUNTERMODE_UP;
  htim5.Init.Period = 11250;
  htim5.Init.ClockDivision = TIM_CLOCKDIVISION_DIV1;
  if (HAL_TIM_Base_Init(&htim5) != HAL_OK)
  {
    Error_Handler();
  }

  sClockSourceConfig.ClockSource = TIM_CLOCKSOURCE_INTERNAL;
  if (HAL_TIM_ConfigClockSource(&htim5, &sClockSourceConfig) != HAL_OK)
  {
    Error_Handler();
  }

  sMasterConfig.MasterOutputTrigger = TIM_TRGO_UPDATE;
  sMasterConfig.MasterSlaveMode = TIM_MASTERSLAVEMODE_ENABLE;
  if (HAL_TIMEx_MasterConfigSynchronization(&htim5, &sMasterConfig) != HAL_OK)
  {
    Error_Handler();
  }

}

/* USART2 init function */
static void MX_USART2_UART_Init(void)
{

  huart2.Instance = USART2;
  huart2.Init.BaudRate = 115200;
  huart2.Init.WordLength = UART_WORDLENGTH_8B;
  huart2.Init.StopBits = UART_STOPBITS_1;
  huart2.Init.Parity = UART_PARITY_NONE;
  huart2.Init.Mode = UART_MODE_TX_RX;
  huart2.Init.HwFlowCtl = UART_HWCONTROL_NONE;
  huart2.Init.OverSampling = UART_OVERSAMPLING_16;
  if (HAL_UART_Init(&huart2) != HAL_OK)
  {
    Error_Handler();
  }

}

static void MX_DMA_Init(void)
{
  /* DMA controller clock enable */
  __HAL_RCC_DMA2_CLK_ENABLE();
  __HAL_RCC_DMA1_CLK_ENABLE();

  /* DMA interrupt init */
  /* DMA1_Stream5_IRQn interrupt configuration */
  HAL_NVIC_SetPriority(DMA1_Stream5_IRQn, 0, 0);
  HAL_NVIC_EnableIRQ(DMA1_Stream5_IRQn);
  /* DMA1_Stream6_IRQn interrupt configuration */
  HAL_NVIC_SetPriority(DMA1_Stream6_IRQn, 0, 0);
  HAL_NVIC_EnableIRQ(DMA1_Stream6_IRQn);
  /* DMA2_Stream0_IRQn interrupt configuration */
  HAL_NVIC_SetPriority(DMA2_Stream0_IRQn, 0, 0);
  HAL_NVIC_EnableIRQ(DMA2_Stream0_IRQn);
  /* DMA2_Stream3_IRQn interrupt configuration */
  HAL_NVIC_SetPriority(DMA2_Stream3_IRQn, 0, 0);
  HAL_NVIC_EnableIRQ(DMA2_Stream3_IRQn);

}

/** Configure pins as
        * Analog
        * Input
        * Output
        * EVENT_OUT
        * EXTI
*/
static void MX_GPIO_Init(void)
{

  GPIO_InitTypeDef GPIO_InitStruct;

  /* GPIO Ports Clock Enable */
  __HAL_RCC_GPIOC_CLK_ENABLE();
  __HAL_RCC_GPIOH_CLK_ENABLE();
  __HAL_RCC_GPIOA_CLK_ENABLE();
  __HAL_RCC_GPIOB_CLK_ENABLE();

  /*Configure GPIO pins : PC13 PC4 PC6 PC7
                           PC8 */
  GPIO_InitStruct.Pin = GPIO_PIN_13|GPIO_PIN_4|GPIO_PIN_6|GPIO_PIN_7
                          |GPIO_PIN_8;
  GPIO_InitStruct.Mode = GPIO_MODE_INPUT;
  GPIO_InitStruct.Pull = GPIO_PULLUP;
  HAL_GPIO_Init(GPIOC, &GPIO_InitStruct);

  /*Configure GPIO pins : PA6 PA7 PA9 PA10 */
  GPIO_InitStruct.Pin = GPIO_PIN_6|GPIO_PIN_7|GPIO_PIN_9|GPIO_PIN_10;
  GPIO_InitStruct.Mode = GPIO_MODE_OUTPUT_PP;
  GPIO_InitStruct.Pull = GPIO_NOPULL;
  GPIO_InitStruct.Speed = GPIO_SPEED_FREQ_LOW;
  HAL_GPIO_Init(GPIOA, &GPIO_InitStruct);

  /*Configure GPIO pins : PB1 PB10 PB14 PB5
                           PB6 PB8 PB9 */
  GPIO_InitStruct.Pin = GPIO_PIN_1|GPIO_PIN_10|GPIO_PIN_14|GPIO_PIN_5
                          |GPIO_PIN_6|GPIO_PIN_8|GPIO_PIN_9;
  GPIO_InitStruct.Mode = GPIO_MODE_OUTPUT_PP;
  GPIO_InitStruct.Pull = GPIO_NOPULL;
  GPIO_InitStruct.Speed = GPIO_SPEED_FREQ_LOW;
  HAL_GPIO_Init(GPIOB, &GPIO_InitStruct);

  /*Configure GPIO pins : PB2 PB13 PB15 PB3
                           PB4 */
  GPIO_InitStruct.Pin = GPIO_PIN_2|GPIO_PIN_13|GPIO_PIN_15|GPIO_PIN_3
                          |GPIO_PIN_4;
  GPIO_InitStruct.Mode = GPIO_MODE_INPUT;
  GPIO_InitStruct.Pull = GPIO_PULLUP;
  HAL_GPIO_Init(GPIOB, &GPIO_InitStruct);

  /*Configure GPIO pin : PC9 */
  GPIO_InitStruct.Pin = GPIO_PIN_9;
  GPIO_InitStruct.Mode = GPIO_MODE_OUTPUT_PP;
  GPIO_InitStruct.Pull = GPIO_NOPULL;
  GPIO_InitStruct.Speed = GPIO_SPEED_FREQ_LOW;
  HAL_GPIO_Init(GPIOC, &GPIO_InitStruct);

  /*Configure GPIO pins : PA8 PA11 */
  GPIO_InitStruct.Pin = GPIO_PIN_8|GPIO_PIN_11;
  GPIO_InitStruct.Mode = GPIO_MODE_INPUT;
  GPIO_InitStruct.Pull = GPIO_PULLUP;
  HAL_GPIO_Init(GPIOA, &GPIO_InitStruct);

  /*Configure GPIO pin Output Level */
  HAL_GPIO_WritePin(GPIOA, GPIO_PIN_6, GPIO_PIN_RESET);

  /*Configure GPIO pin Output Level */
  HAL_GPIO_WritePin(GPIOA, GPIO_PIN_7|GPIO_PIN_9|GPIO_PIN_10, GPIO_PIN_SET);

  /*Configure GPIO pin Output Level */
  HAL_GPIO_WritePin(GPIOB, GPIO_PIN_1|GPIO_PIN_14|GPIO_PIN_6|GPIO_PIN_8, GPIO_PIN_RESET);

  /*Configure GPIO pin Output Level */
  HAL_GPIO_WritePin(GPIOB, GPIO_PIN_10|GPIO_PIN_5|GPIO_PIN_9, GPIO_PIN_SET);

  /*Configure GPIO pin Output Level */
  HAL_GPIO_WritePin(GPIOC, GPIO_PIN_9, GPIO_PIN_RESET);

}

/* USER CODE BEGIN 4 */

//ADC DMA interupt: fist half of record buffer ready
void HAL_ADC_ConvHalfCpltCallback(ADC_HandleTypeDef* hadc)
{
 if(hadc == (&hadc1)) //ADC0 record voice frame
 {
	 Start_Encoding=1; //set flag voice frame is redy
	 dac2_level=__HAL_DMA_GET_COUNTER(&hdma_dac2); //get level of dac2: Lineout (must be 720+few)
 }
 else //ADC1 record modem frame
 {
	 Start_Decoding=1; //set flag modem frame is ready
	 dac1_level=__HAL_DMA_GET_COUNTER(&hdma_dac1); //get level of dac1: speaker (must be 540+few)
	 __HAL_TIM_SET_AUTORELOAD(&htim3, tim3period); //adjust ADC2 8KHz rate (Linein)
 }
}

//ADC DMA interupt: second half of record buffer ready
void HAL_ADC_ConvCpltCallback(ADC_HandleTypeDef* hadc)
{
 if(hadc == (&hadc1)) //ADC0 record voice frame
 {
	 Start_Encoding=2; //set flag voice frame is redy
 }
 else //ADC1 record modem frame
 {
	  Start_Decoding=2;  //set flag modem frame is ready
	  __HAL_TIM_SET_AUTORELOAD(&htim3, tim3period); //adjust ADC2 8KHz rate (Line in)
 }
}

//set configuration vaues depends Jumpers open/close
void getJmp(void)
{
	unsigned char val;
	//PC6 antiVAD: 1-on, 0-off
	if(GPIO_PIN_SET==HAL_GPIO_ReadPin(GPIOC, GPIO_PIN_6)) val=1; else val=0;
	//call modem functional to set anti-vad here!!!
	setavad(val);
	//PC8 modem type: jumper open(1) - pls, closed(0) - psk
	if(GPIO_PIN_SET==HAL_GPIO_ReadPin(GPIOC, GPIO_PIN_8)) psk=0; else psk=1;
	//PA6 ptt mode: jumper open(1) - duplex(invert btn), closed(0)- push-to-talk
	if(GPIO_PIN_SET==HAL_GPIO_ReadPin(GPIOA, GPIO_PIN_11)) ptt=0; else ptt=1;
}

/* USER CODE END 4 */

void Error_Handler(void)
{
  while(1)
  {
  }
}

/************************ (C) COPYRIGHT STMicroelectronics *****END OF FILE****/
